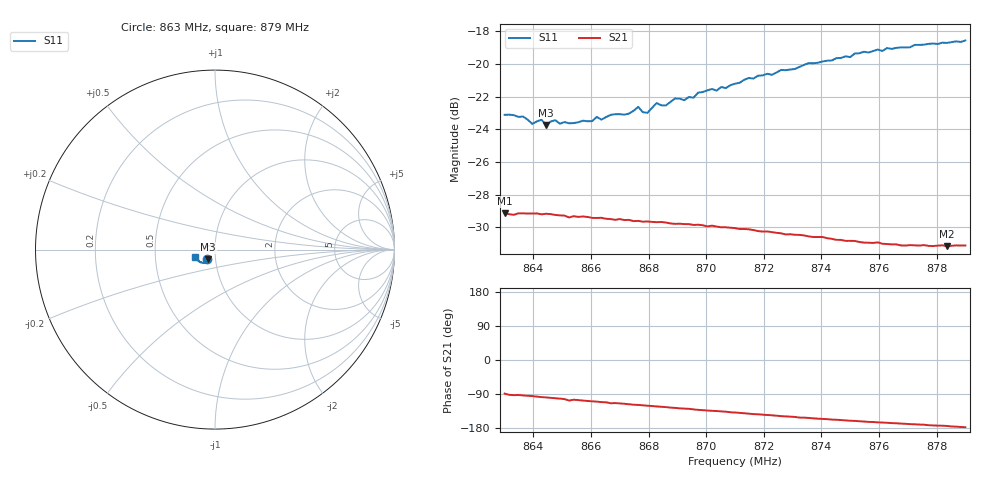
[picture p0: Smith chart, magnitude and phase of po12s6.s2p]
# HZ S RI R 50
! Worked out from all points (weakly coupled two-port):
!   101 points, 863 MHz to 879 MHz, reference 50 ohm
!   highest |S21| = -29.14 dB at 863 MHz (marker M1); lowest = -31.2 dB at 878.36 MHz (marker M2)
!   lowest |S11| = -23.7 dB at 864.44 MHz (marker M3), VSWR 1.14, Z = 46.1 - j4.92 ohm
!   |S11| at or under -10 dB: start of sweep to end of sweep
!   S12 and S22 are empty: the file has one direction only
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8.63e8  -0.0452 -0.0533  0.000796 -0.0349  0 0  0 0
8.6364e8  -0.0425 -0.0544  -0.00212 -0.0348  0 0  0 0
8.6396e8  -0.0391 -0.0527  -0.00317 -0.0347  0 0  0 0
8.6428e8  -0.0395 -0.0548  -0.00476 -0.0343  0 0  0 0
8.6444e8  -0.0376 -0.0531  -0.00528 -0.0344  0 0  0 0
8.6476e8  -0.0391 -0.0548  -0.0065 -0.0339  0 0  0 0
8.6492e8  -0.0373 -0.0541  -0.00713 -0.0337  0 0  0 0
8.6572e8  -0.0347 -0.0574  -0.01 -0.0326  0 0  0 0
8.6732e8  -0.0335 -0.0621  -0.015 -0.0298  0 0  0 0
8.6764e8  -0.0374 -0.0638  -0.0158 -0.0291  0 0  0 0
8.6796e8  -0.0333 -0.0626  -0.0168 -0.0283  0 0  0 0
8.6828e8  -0.0381 -0.0658  -0.0176 -0.0276  0 0  0 0
8.6844e8  -0.037 -0.065  -0.0181 -0.0274  0 0  0 0
8.6892e8  -0.0397 -0.0677  -0.0192 -0.0261  0 0  0 0
8.6924e8  -0.0371 -0.0681  -0.02 -0.0254  0 0  0 0
8.6956e8  -0.0399 -0.0681  -0.0208 -0.0245  0 0  0 0
8.6972e8  -0.0409 -0.0708  -0.0214 -0.0241  0 0  0 0
8.71e8  -0.0474 -0.073  -0.0236 -0.0208  0 0  0 0
8.7372e8  -0.0678 -0.0743  -0.0265 -0.013  0 0  0 0
8.7644e8  -0.0926 -0.0617  -0.0273 -0.00655  0 0  0 0
8.7836e8  -0.1069 -0.0453  -0.0275 -0.00288  0 0  0 0
8.79e8  -0.1112 -0.04  -0.0278 -0.00127  0 0  0 0
